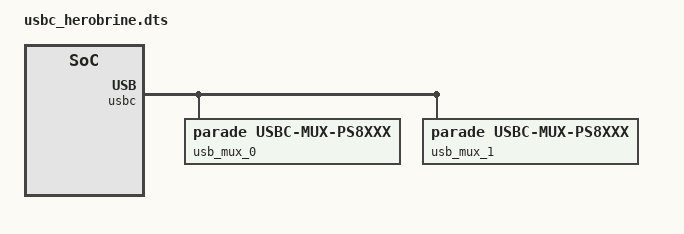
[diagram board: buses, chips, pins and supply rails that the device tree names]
/* Copyright 2021 The ChromiumOS Authors
 * Use of this source code is governed by a BSD-style license that can be
 * found in the LICENSE file.
 */

/ {
	usbc {
		#address-cells = <1>;
		#size-cells = <0>;

		port0@0 {
			compatible = "named-usbc-port";
			reg = <0>;
			bc12 = <&bc12_port0>;
			ppc = <&ppc_port0>;
			ppc_alt = <&ppc_port0_alt>;
			tcpc = <&tcpc_port0>;
			chg = <&charger>;
			usb-muxes = <&usb_mux_0>;
		};
		usb_mux_0: usb-mux-0 {
			compatible = "parade,usbc-mux-ps8xxx";
		};

		port1@1 {
			compatible = "named-usbc-port";
			reg = <1>;
			bc12 = <&bc12_port1>;
			ppc = <&ppc_port1>;
			tcpc = <&tcpc_port1>;
			usb-muxes = <&usb_mux_1>;
		};
		usb_mux_1: usb-mux-1 {
			compatible = "parade,usbc-mux-ps8xxx";
		};
	};
};
